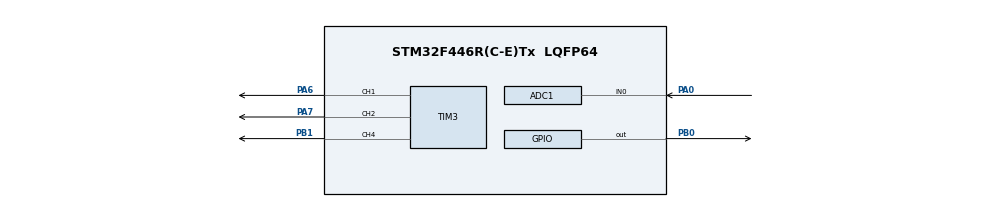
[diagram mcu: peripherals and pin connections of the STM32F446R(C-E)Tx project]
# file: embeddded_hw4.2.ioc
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ADC1.Channel-0\#ChannelRegularConversion=ADC_CHANNEL_0
ADC1.NbrOfConversionFlag=1
ADC1.Rank-0\#ChannelRegularConversion=1
ADC1.SamplingTime-0\#ChannelRegularConversion=ADC_SAMPLETIME_3CYCLES
ADC1.master=1
Mcu.Family=STM32F4
Mcu.Name=STM32F446R(C-E)Tx
Mcu.Package=LQFP64
NVIC.PriorityGroup=NVIC_PRIORITYGROUP_4
PA0-WKUP.Signal=ADCx_IN0
PA6.Signal=S_TIM3_CH1
PA7.Signal=S_TIM3_CH2
PB0.Signal=GPIO_Output
PB1.Signal=S_TIM3_CH4
ProjectManager.HeapSize=0x200
ProjectManager.StackSize=0x400
ProjectManager.TargetToolchain=STM32CubeIDE
RCC.CortexFreq_Value=16000000
RCC.USBFreq_Value=96000000
RCC.VCOOutputFreq_Value=192000000
SH.ADCx_IN0.0=ADC1_IN0,IN0
SH.S_TIM3_CH1.0=TIM3_CH1,PWM Generation1 CH1
SH.S_TIM3_CH2.0=TIM3_CH2,PWM Generation2 CH2
SH.S_TIM3_CH4.0=TIM3_CH4,PWM Generation4 CH4
TIM3.Channel-PWM\ Generation1\ CH1=TIM_CHANNEL_1
TIM3.Channel-PWM\ Generation2\ CH2=TIM_CHANNEL_2
TIM3.Channel-PWM\ Generation4\ CH4=TIM_CHANNEL_4
board=custom

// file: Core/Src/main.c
/* USER CODE BEGIN Header */
/**
  ******************************************************************************
  * @file           : main.c
  * @brief          : Main program body
  ******************************************************************************
  * @attention
  *
  * Copyright (c) 2025 STMicroelectronics.
  * All rights reserved.
  *
  * This software is licensed under terms that can be found in the LICENSE file
  * in the root directory of this software component.
  * If no LICENSE file comes with this software, it is provided AS-IS.
  *
  ******************************************************************************
  */
/* USER CODE END Header */
#include "main.h"

/* USER CODE BEGIN PD */
#define BUZZER_PIN GPIO_PIN_0

/* USER CODE END PD */

ADC_HandleTypeDef hadc1;

TIM_HandleTypeDef htim3;

/* USER CODE BEGIN PV */
uint16_t adc_value = 0;
/* USER CODE END PV */

void SystemClock_Config(void);
static void MX_GPIO_Init(void);
static void MX_ADC1_Init(void);
static void MX_TIM3_Init(void);
/* USER CODE BEGIN PFP */
uint16_t ADC_Read(void);
void RGB_Colour(uint16_t red, uint16_t green, uint16_t blue);
/* USER CODE END PFP */

int main(void)
{

  /* MCU Configuration--------------------------------------------------------*/

  /* Reset of all peripherals, Initializes the Flash interface and the Systick. */
  HAL_Init();

  /* Configure the system clock */
  SystemClock_Config();

  MX_GPIO_Init();
  MX_ADC1_Init();
  MX_TIM3_Init();
  /* USER CODE BEGIN 2 */

  HAL_TIM_PWM_Start(&htim3, TIM_CHANNEL_1);
  HAL_TIM_PWM_Start(&htim3, TIM_CHANNEL_2);
  HAL_TIM_PWM_Start(&htim3, TIM_CHANNEL_4);

  /* USER CODE END 2 */

  /* Infinite loop */
  /* USER CODE BEGIN WHILE */
  while (1)
  {

    adc_value = ADC_Read();

    if (adc_value < 72)
    {
      RGB_Colour(0, 500, 0);
      HAL_GPIO_WritePin(GPIOB, BUZZER_PIN, GPIO_PIN_RESET);
    }

    else if (adc_value < 89)
    {
      RGB_Colour(0, 0, 500);
      HAL_GPIO_WritePin(GPIOB, BUZZER_PIN, GPIO_PIN_RESET);
    }

    else
    {
      RGB_Colour(500, 0, 0);
      HAL_GPIO_WritePin(GPIOB, BUZZER_PIN, GPIO_PIN_SET);
    }

    HAL_Delay(200);

    /* USER CODE END WHILE */

  }
}

void SystemClock_Config(void)
{
  RCC_OscInitTypeDef RCC_OscInitStruct = {0};
  RCC_ClkInitTypeDef RCC_ClkInitStruct = {0};

  __HAL_RCC_PWR_CLK_ENABLE();
  __HAL_PWR_VOLTAGESCALING_CONFIG(PWR_REGULATOR_VOLTAGE_SCALE3);

  RCC_OscInitStruct.OscillatorType = RCC_OSCILLATORTYPE_HSI;
  RCC_OscInitStruct.HSIState = RCC_HSI_ON;
  RCC_OscInitStruct.HSICalibrationValue = RCC_HSICALIBRATION_DEFAULT;
  RCC_OscInitStruct.PLL.PLLState = RCC_PLL_NONE;
  if (HAL_RCC_OscConfig(&RCC_OscInitStruct) != HAL_OK)
  {
    Error_Handler();
  }

  RCC_ClkInitStruct.ClockType = RCC_CLOCKTYPE_HCLK|RCC_CLOCKTYPE_SYSCLK
                              |RCC_CLOCKTYPE_PCLK1|RCC_CLOCKTYPE_PCLK2;
  RCC_ClkInitStruct.SYSCLKSource = RCC_SYSCLKSOURCE_HSI;
  RCC_ClkInitStruct.AHBCLKDivider = RCC_SYSCLK_DIV1;
  RCC_ClkInitStruct.APB1CLKDivider = RCC_HCLK_DIV1;
  RCC_ClkInitStruct.APB2CLKDivider = RCC_HCLK_DIV1;

  if (HAL_RCC_ClockConfig(&RCC_ClkInitStruct, FLASH_LATENCY_0) != HAL_OK)
  {
    Error_Handler();
  }
}

static void MX_ADC1_Init(void)
{

  ADC_ChannelConfTypeDef sConfig = {0};

  /** Configure the global features of the ADC (Clock, Resolution, Data Alignment and number of conversion)
  */
  hadc1.Instance = ADC1;
  hadc1.Init.ClockPrescaler = ADC_CLOCK_SYNC_PCLK_DIV2;
  hadc1.Init.Resolution = ADC_RESOLUTION_12B;
  hadc1.Init.ScanConvMode = DISABLE;
  hadc1.Init.ContinuousConvMode = DISABLE;
  hadc1.Init.DiscontinuousConvMode = DISABLE;
  hadc1.Init.ExternalTrigConvEdge = ADC_EXTERNALTRIGCONVEDGE_NONE;
  hadc1.Init.ExternalTrigConv = ADC_SOFTWARE_START;
  hadc1.Init.DataAlign = ADC_DATAALIGN_RIGHT;
  hadc1.Init.NbrOfConversion = 1;
  hadc1.Init.DMAContinuousRequests = DISABLE;
  hadc1.Init.EOCSelection = ADC_EOC_SINGLE_CONV;
  if (HAL_ADC_Init(&hadc1) != HAL_OK)
  {
    Error_Handler();
  }

  /** Configure for the selected ADC regular channel its corresponding rank in the sequencer and its sample time.
  */
  sConfig.Channel = ADC_CHANNEL_0;
  sConfig.Rank = 1;
  sConfig.SamplingTime = ADC_SAMPLETIME_144CYCLES;
  if (HAL_ADC_ConfigChannel(&hadc1, &sConfig) != HAL_OK)
  {
    Error_Handler();
  }

}

static void MX_TIM3_Init(void)
{

  TIM_MasterConfigTypeDef sMasterConfig = {0};
  TIM_OC_InitTypeDef sConfigOC = {0};

  htim3.Instance = TIM3;
  htim3.Init.Prescaler = 16-1;
  htim3.Init.CounterMode = TIM_COUNTERMODE_UP;
  htim3.Init.Period = 999;
  htim3.Init.ClockDivision = TIM_CLOCKDIVISION_DIV1;
  htim3.Init.AutoReloadPreload = TIM_AUTORELOAD_PRELOAD_DISABLE;
  if (HAL_TIM_PWM_Init(&htim3) != HAL_OK)
  {
    Error_Handler();
  }
  sMasterConfig.MasterOutputTrigger = TIM_TRGO_RESET;
  sMasterConfig.MasterSlaveMode = TIM_MASTERSLAVEMODE_DISABLE;
  if (HAL_TIMEx_MasterConfigSynchronization(&htim3, &sMasterConfig) != HAL_OK)
  {
    Error_Handler();
  }
  sConfigOC.OCMode = TIM_OCMODE_PWM1;
  sConfigOC.Pulse = 0;
  sConfigOC.OCPolarity = TIM_OCPOLARITY_HIGH;
  sConfigOC.OCFastMode = TIM_OCFAST_DISABLE;
  if (HAL_TIM_PWM_ConfigChannel(&htim3, &sConfigOC, TIM_CHANNEL_1) != HAL_OK)
  {
    Error_Handler();
  }
  if (HAL_TIM_PWM_ConfigChannel(&htim3, &sConfigOC, TIM_CHANNEL_2) != HAL_OK)
  {
    Error_Handler();
  }
  if (HAL_TIM_PWM_ConfigChannel(&htim3, &sConfigOC, TIM_CHANNEL_4) != HAL_OK)
  {
    Error_Handler();
  }
  HAL_TIM_MspPostInit(&htim3);

}

static void MX_GPIO_Init(void)
{
  GPIO_InitTypeDef GPIO_InitStruct = {0};

  /* GPIO Ports Clock Enable */
  __HAL_RCC_GPIOA_CLK_ENABLE();
  __HAL_RCC_GPIOB_CLK_ENABLE();

  /*Configure GPIO pin Output Level */
  HAL_GPIO_WritePin(GPIOB, GPIO_PIN_0, GPIO_PIN_RESET);

  /*Configure GPIO pin : PB0 */
  GPIO_InitStruct.Pin = GPIO_PIN_0;
  GPIO_InitStruct.Mode = GPIO_MODE_OUTPUT_PP;
  GPIO_InitStruct.Pull = GPIO_NOPULL;
  GPIO_InitStruct.Speed = GPIO_SPEED_FREQ_LOW;
  HAL_GPIO_Init(GPIOB, &GPIO_InitStruct);

}

/* USER CODE BEGIN 4 */

uint16_t ADC_Read(void)
{
  HAL_ADC_Start(&hadc1);

  HAL_ADC_PollForConversion(&hadc1, HAL_MAX_DELAY);

  uint16_t deger = HAL_ADC_GetValue(&hadc1);

  HAL_ADC_Stop(&hadc1);

  return deger;
}

void RGB_Colour(uint16_t red, uint16_t green, uint16_t blue)
{
  __HAL_TIM_SET_COMPARE(&htim3, TIM_CHANNEL_4, red);
  __HAL_TIM_SET_COMPARE(&htim3, TIM_CHANNEL_1, green);
  __HAL_TIM_SET_COMPARE(&htim3, TIM_CHANNEL_2, blue);
}

/* USER CODE END 4 */

void Error_Handler(void)
{
  __disable_irq();
  while (1)
  {
  }
}
